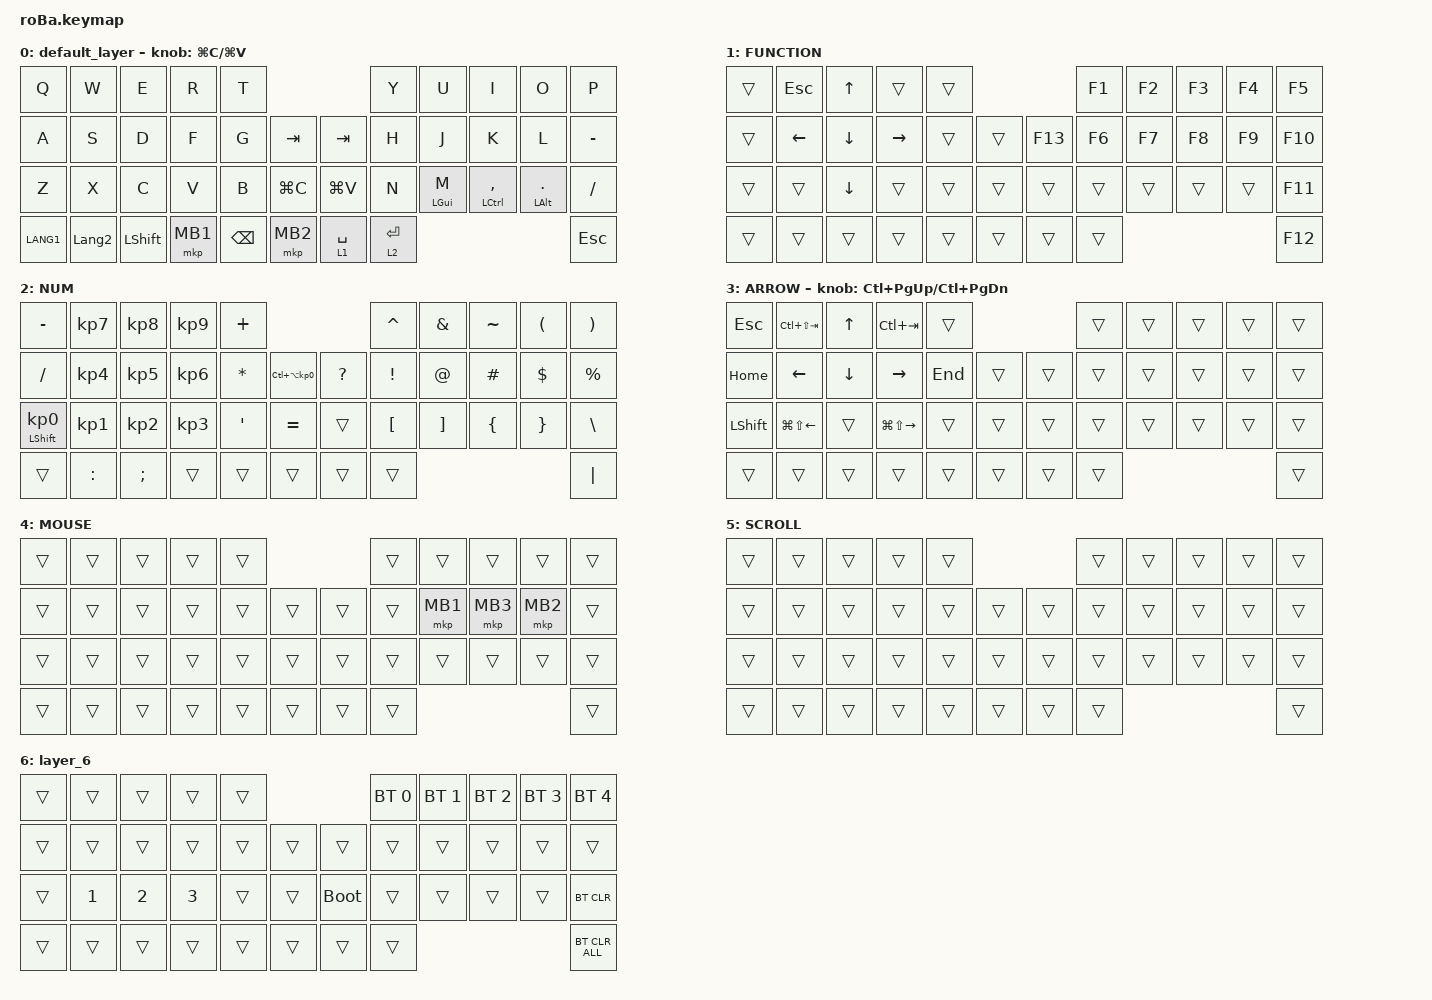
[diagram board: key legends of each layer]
#include <behaviors.dtsi>
#include <dt-bindings/zmk/bt.h>
#include <dt-bindings/zmk/keys.h>
#include <dt-bindings/zmk/pointing.h>

&mt {
    flavor = "balanced";
    quick-tap-ms = <0>;
};

&trackball {
    automouse-layer = <4>;
    scroll-layers = <5>;

    // arrows {
    //     layers = <3>;
    //     bindings =
    //         <&kp RIGHT_ARROW>,
    //         <&kp LEFT_ARROW>,
    //         <&kp UP_ARROW>,
    //         <&kp DOWN_ARROW>;
    //     tick = <10>;
    //     wait-ms = <5>;
    //     tap-ms = <5>;
    // };
};

/ {
    combos {
        compatible = "zmk,combos";

        tab {
            bindings = <&kp TAB>;
            key-positions = <11 12>;
        };

        shift_tab {
            bindings = <&kp LS(TAB)>;
            key-positions = <12 13>;
        };

        muhennkann {
            bindings = <&to_layer_0 INT_MUHENKAN>;
            key-positions = <11 10>;
        };

        double_quotation {
            bindings = <&kp DOUBLE_QUOTES>;
            key-positions = <20 21>;
        };

        eq {
            bindings = <&kp EQUAL>;
            key-positions = <24 25>;
        };
    };

    macros {
        to_layer_0: to_layer_0 {
            compatible = "zmk,behavior-macro-one-param";
            #binding-cells = <1>;
            bindings = <&to 0 &macro_param_1to1 &kp MACRO_PLACEHOLDER>;
            label = "TO_LAYER_0";
        };
    };

    behaviors {
        lt_to_layer_0: lt_to_layer_0 {
            compatible = "zmk,behavior-hold-tap";
            label = "LAYER_TAP_TO_0";
            bindings = <&mo>, <&to_layer_0>;

            #binding-cells = <2>;
            tapping-term-ms = <200>;
        };
    };

    keymap {
        compatible = "zmk,keymap";

        default_layer {
            bindings = <
&kp Q      &kp W           &kp E           &kp R     &kp T                                                 &kp Y                   &kp U           &kp I                   &kp O             &kp P
&kp A      &kp S           &kp D           &kp F     &kp G          &kp TAB        &kp TAB                 &kp H                   &kp J           &kp K                   &kp L             &kp MINUS
&kp Z      &kp X           &kp C           &kp V     &kp B          &kp LG(C)      &kp LG(V)               &kp N                   &mt LEFT_GUI M  &mt LEFT_CONTROL COMMA  &mt LEFT_ALT DOT  &kp SLASH
&kp LANG1  &kp LANGUAGE_2  &kp LEFT_SHIFT  &mkp MB1  &kp BACKSPACE  &mkp MB2       &lt_to_layer_0 1 SPACE  &lt_to_layer_0 2 ENTER                                                            &kp ESCAPE
            >;

            sensor-bindings = <&inc_dec_kp LG(C) LG(V)>;
        };

        FUNCTION {
            bindings = <
&trans  &kp ESCAPE      &kp UP_ARROW    &trans           &trans                       &kp F1  &kp F2  &kp F3  &kp F4  &kp F5
&trans  &kp LEFT_ARROW  &kp DOWN_ARROW  &kp RIGHT_ARROW  &trans  &trans      &kp F13  &kp F6  &kp F7  &kp F8  &kp F9  &kp F10
&trans  &trans          &kp DOWN_ARROW  &trans           &trans  &trans      &trans   &trans  &trans  &trans  &trans  &kp F11
&trans  &trans          &trans          &trans           &trans  &trans      &trans   &trans                          &kp F12
            >;
        };

        NUM {
            bindings = <
&kp MINUS                   &kp KP_NUMBER_7  &kp KP_NUMBER_8  &kp KP_NUMBER_9  &kp PLUS                                                 &kp CARET         &kp AMPERSAND      &kp TILDE       &kp LEFT_PARENTHESIS  &kp RIGHT_PARENTHESIS
&kp SLASH                   &kp KP_NUMBER_4  &kp KP_NUMBER_5  &kp KP_NUMBER_6  &kp ASTERISK  &kp LC(LA(KP_NUMBER_0))      &kp QUESTION  &kp EXCLAMATION   &kp AT_SIGN        &kp HASH        &kp DOLLAR            &kp PERCENT
&mt LEFT_SHIFT KP_NUMBER_0  &kp KP_NUMBER_1  &kp KP_NUMBER_2  &kp KP_NUMBER_3  &kp SQT       &kp EQUAL                    &trans        &kp LEFT_BRACKET  &kp RIGHT_BRACKET  &kp LEFT_BRACE  &kp RIGHT_BRACE       &kp BACKSLASH
&trans                      &kp COLON        &kp SEMICOLON    &trans           &trans        &trans                       &trans        &trans                                                                     &kp PIPE
            >;
        };

        ARROW {
            bindings = <
&kp ESCAPE      &kp LC(LS(TAB))         &kp UP_ARROW    &kp LC(TAB)              &trans                       &trans  &trans  &trans  &trans  &trans
&kp HOME        &kp LEFT_ARROW          &kp DOWN_ARROW  &kp RIGHT_ARROW          &kp END  &trans      &trans  &trans  &trans  &trans  &trans  &trans
&kp LEFT_SHIFT  &kp LG(LS(LEFT_ARROW))  &trans          &kp LG(LS(RIGHT_ARROW))  &trans   &trans      &trans  &trans  &trans  &trans  &trans  &trans
&trans          &trans                  &trans          &trans                   &trans   &trans      &trans  &trans                          &trans
            >;

            sensor-bindings = <&inc_dec_kp LC(PAGE_UP) LC(PAGE_DOWN)>;
        };

        MOUSE {
            bindings = <
&trans  &trans  &trans  &trans  &trans                      &trans  &trans    &trans    &trans    &trans
&trans  &trans  &trans  &trans  &trans  &trans      &trans  &trans  &mkp MB1  &mkp MB3  &mkp MB2  &trans
&trans  &trans  &trans  &trans  &trans  &trans      &trans  &trans  &trans    &trans    &trans    &trans
&trans  &trans  &trans  &trans  &trans  &trans      &trans  &trans                                &trans
            >;
        };

        SCROLL {
            bindings = <
&trans  &trans  &trans  &trans  &trans                      &trans  &trans  &trans  &trans  &trans
&trans  &trans  &trans  &trans  &trans  &trans      &trans  &trans  &trans  &trans  &trans  &trans
&trans  &trans  &trans  &trans  &trans  &trans      &trans  &trans  &trans  &trans  &trans  &trans
&trans  &trans  &trans  &trans  &trans  &trans      &trans  &trans                          &trans
            >;
        };

        layer_6 {
            bindings = <
&trans  &trans        &trans        &trans        &trans                           &bt BT_SEL 0  &bt BT_SEL 1  &bt BT_SEL 2  &bt BT_SEL 3  &bt BT_SEL 4
&trans  &trans        &trans        &trans        &trans  &trans      &trans       &trans        &trans        &trans        &trans        &trans
&trans  &kp NUMBER_1  &kp NUMBER_2  &kp NUMBER_3  &trans  &trans      &bootloader  &trans        &trans        &trans        &trans        &bt BT_CLR
&trans  &trans        &trans        &trans        &trans  &trans      &trans       &trans                                                  &bt BT_CLR_ALL
            >;
        };
    };
};
